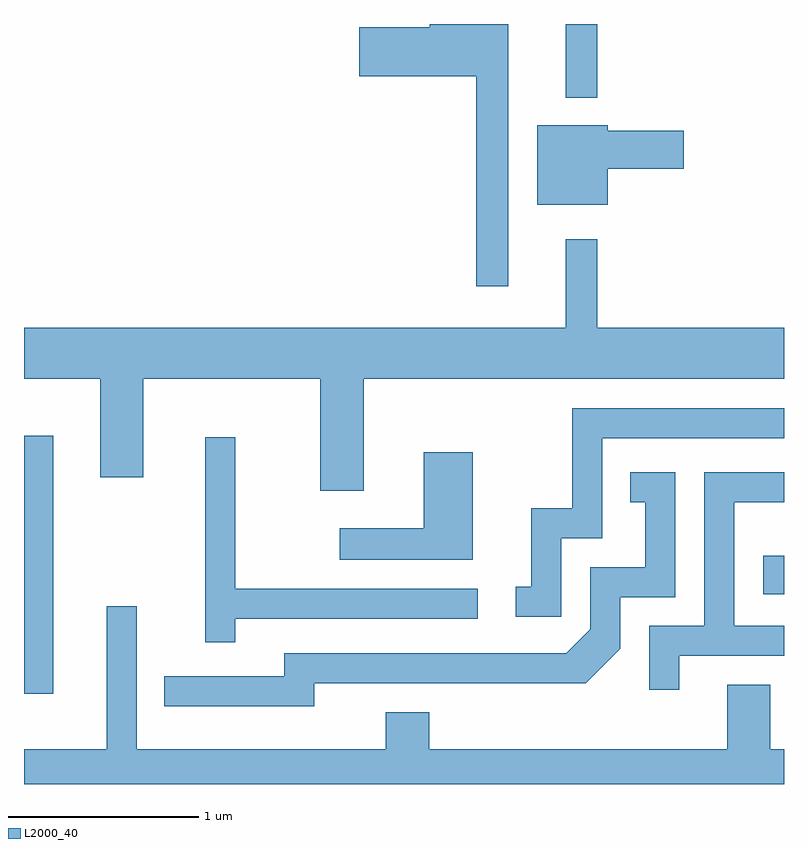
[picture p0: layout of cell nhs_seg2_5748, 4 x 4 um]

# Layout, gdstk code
import gdstk
lib = gdstk.Library(unit=1e-6, precision=1e-09)
def R(c, l, rs):  # rectangles x0, y0, x1, y1
    for r in rs: c.add(gdstk.rectangle(r[:2], r[2:], *l))
def P(c, l, *ps):  # polygons
    for p in ps: c.add(gdstk.Polygon(p, *l))
L2000_40 = (2000, 40)

nhs_seg2_5748 = lib.new_cell('nhs_seg2_5748')
R(nhs_seg2_5748, L2000_40, [(355.611,982.276,355.764,983.634), (359.501,982.801,359.611,983.004), (358.461,985.413,358.629,985.802)])
P(nhs_seg2_5748, L2000_40, [(358.159,985.802),(357.746,985.802),(357.746,985.784),(357.376,985.784),(357.376,985.526),(357.991,985.526),(357.991,984.423),(358.159,984.423)],
  [(358.684,985.041),(359.084,985.041),(359.084,985.239),(358.684,985.239),(358.684,985.269),(358.311,985.269),(358.311,984.851),(358.684,984.851)],
  [(357.399,983.936),(359.611,983.936),(359.611,984.204),(358.629,984.204),(358.629,984.668),(358.461,984.668),(358.461,984.204),(355.611,984.204),(355.611,983.936),(356.011,983.936),(356.011,983.416),(356.239,983.416),(356.239,983.936),(357.171,983.936),(357.171,983.346),(357.399,983.346)],
  [(358.439,983.096),(358.654,983.096),(358.654,983.621),(359.611,983.621),(359.611,983.779),(358.496,983.779),(358.496,983.254),(358.281,983.254),(358.281,982.839),(358.198,982.839),(358.198,982.681),(358.439,982.681)],
  [(356.724,982.671),(357.998,982.671),(357.998,982.829),(356.724,982.829),(356.724,983.628),(356.566,983.628),(356.566,982.548),(356.724,982.548)],
  [(357.974,983.549),(357.716,983.549),(357.716,983.149),(357.273,983.149),(357.273,982.981),(357.974,982.981)],
  [(359.059,982.476),(359.611,982.476),(359.611,982.634),(359.349,982.634),(359.349,983.286),(359.611,983.286),(359.611,983.444),(359.191,983.444),(359.191,982.634),(358.901,982.634),(358.901,982.298),(359.059,982.298)],
  [(357.139,982.331),(358.567,982.331),(358.749,982.514),(358.749,982.786),(359.039,982.786),(359.039,983.444),(358.803,983.444),(358.803,983.286),(358.881,983.286),(358.881,982.944),(358.591,982.944),(358.591,982.617),(358.464,982.489),(356.981,982.489),(356.981,982.369),(356.348,982.369),(356.348,982.211),(357.139,982.211)],
  [(359.611,981.984),(359.539,981.984),(359.539,982.324),(359.311,982.324),(359.311,981.984),(357.744,981.984),(357.744,982.179),(357.516,982.179),(357.516,981.984),(356.204,981.984),(356.204,982.738),(356.046,982.738),(356.046,981.984),(355.611,981.984),(355.611,981.802),(359.611,981.802)])

lib.write_gds('nhs_seg2_5748.gds')
